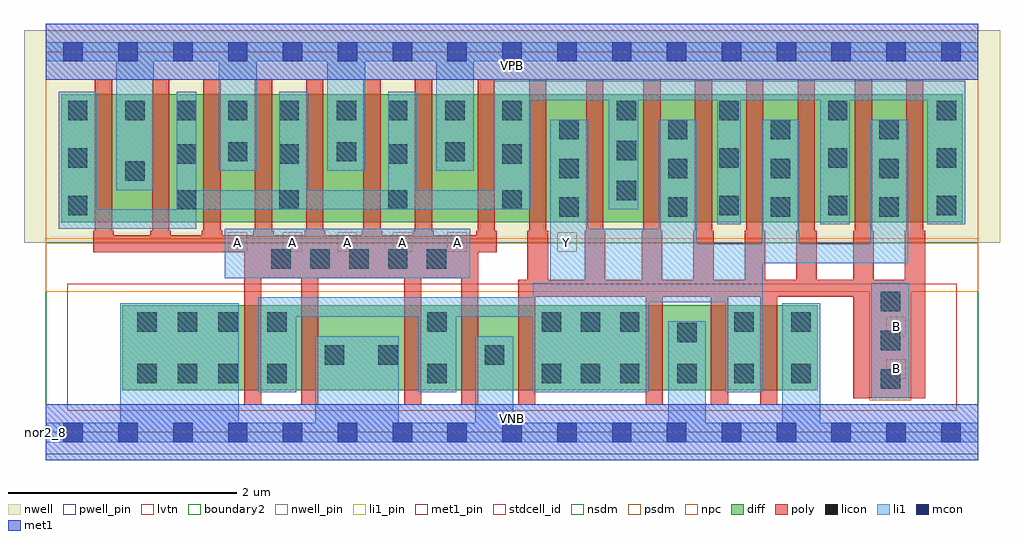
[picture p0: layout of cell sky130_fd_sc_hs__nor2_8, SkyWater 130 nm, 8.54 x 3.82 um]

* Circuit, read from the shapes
.subckt sky130_fd_sc_hs__nor2_8 A B VGND VNB VPB VPWR Y
XM1 Y A VGND VNB sky130_fd_pr__nfet_01v8_lvt w=0.74 l=0.15 m=4
XM2 Y B VGND VNB sky130_fd_pr__nfet_01v8_lvt w=0.74 l=0.15 m=4
XM3 VPWR A n1 VPB sky130_fd_pr__pfet_01v8 w=1.12 l=0.15 m=8
XM4 Y B n1 VPB sky130_fd_pr__pfet_01v8 w=1.12 l=0.15 m=8
.ends

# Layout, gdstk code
import gdstk
lib = gdstk.Library(unit=1e-6, precision=1e-09)
def R(c, l, rs):  # rectangles x0, y0, x1, y1
    for r in rs: c.add(gdstk.rectangle(r[:2], r[2:], *l))
def A(c, l, x, y, w, h, nx, ny, dx, dy):  # array of equal rectangles
    R(c, l, [(x+i*dx, y+j*dy, x+i*dx+w, y+j*dy+h) for i in range(nx) for j in range(ny)])
def P(c, l, *ps):  # polygons
    for p in ps: c.add(gdstk.Polygon(p, *l))
nwell_pin = (64, 16)
nwell = (64, 20)
diff = (65, 20)
poly = (66, 20)
licon = (66, 44)
li1_pin = (67, 16)
li1 = (67, 20)
mcon = (67, 44)
met1_pin = (68, 16)
met1 = (68, 20)
stdcell_id = (81, 4)
nsdm = (93, 44)
psdm = (94, 20)
npc = (95, 20)
pwell_pin = (122, 16)
lvtn = (125, 44)
boundary2 = (236, 0)

sky130_fd_sc_hs__nor2_8 = lib.new_cell('sky130_fd_sc_hs__nor2_8')
R(sky130_fd_sc_hs__nor2_8, nwell_pin, [(0,3.085,8.16,3.33)])
R(sky130_fd_sc_hs__nor2_8, nwell, [(-0.19,1.66,8.35,3.52)])
R(sky130_fd_sc_hs__nor2_8, diff, [(0.67,0.37,6.755,1.11), (0.135,1.84,8.025,2.96)])
P(sky130_fd_sc_hs__nor2_8, poly, [(3.945,1.765),(3.93,1.765),(3.93,3.09),(3.78,3.09),(3.78,1.765),(3.765,1.765),(3.765,1.725),(3.395,1.725),(3.395,1.765),(3.38,1.765),(3.38,3.09),(3.23,3.09),(3.23,1.765),(3.215,1.765),(3.215,1.725),(2.945,1.725),(2.945,1.765),(2.93,1.765),(2.93,3.09),(2.78,3.09),(2.78,1.765),(2.765,1.765),(2.765,1.725),(2.445,1.725),(2.445,1.765),(2.43,1.765),(2.43,3.09),(2.28,3.09),(2.28,1.765),(2.265,1.765),(2.265,1.725),(1.995,1.725),(1.995,1.765),(1.98,1.765),(1.98,3.09),(1.83,3.09),(1.83,1.765),(1.815,1.765),(1.815,1.725),(1.545,1.725),(1.545,1.765),(1.53,1.765),(1.53,3.09),(1.38,3.09),(1.38,1.765),(1.365,1.765),(1.365,1.725),(1.095,1.725),(1.095,1.765),(1.08,1.765),(1.08,3.09),(0.93,3.09),(0.93,1.765),(0.915,1.765),(0.915,1.725),(0.595,1.725),(0.595,1.765),(0.58,1.765),(0.58,3.09),(0.43,3.09),(0.43,1.765),(0.415,1.765),(0.415,1.575),(1.735,1.575),(1.735,0.24),(1.885,0.24),(1.885,1.35),(2.235,1.35),(2.235,0.24),(2.385,0.24),(2.385,1.35),(3.135,1.35),(3.135,0.24),(3.285,0.24),(3.285,1.35),(3.635,1.35),(3.635,0.24),(3.785,0.24),(3.785,1.575),(3.945,1.575)],
  [(7.695,1.765),(7.68,1.765),(7.68,3.09),(7.53,3.09),(7.53,1.765),(7.515,1.765),(7.515,1.335),(7.245,1.335),(7.245,1.765),(7.23,1.765),(7.23,3.09),(7.08,3.09),(7.08,1.765),(7.065,1.765),(7.065,1.335),(6.745,1.335),(6.745,1.765),(6.73,1.765),(6.73,3.09),(6.58,3.09),(6.58,1.765),(6.565,1.765),(6.565,1.335),(6.295,1.335),(6.295,1.765),(6.28,1.765),(6.28,3.09),(6.13,3.09),(6.13,1.765),(6.115,1.765),(6.115,1.335),(5.845,1.335),(5.845,1.765),(5.83,1.765),(5.83,3.09),(5.68,3.09),(5.68,1.765),(5.665,1.765),(5.665,1.335),(5.395,1.335),(5.395,1.765),(5.38,1.765),(5.38,3.09),(5.23,3.09),(5.23,1.765),(5.215,1.765),(5.215,1.335),(4.895,1.335),(4.895,1.765),(4.88,1.765),(4.88,3.09),(4.73,3.09),(4.73,1.765),(4.715,1.765),(4.715,1.335),(4.395,1.335),(4.395,1.765),(4.38,1.765),(4.38,3.09),(4.23,3.09),(4.23,1.765),(4.215,1.765),(4.215,1.335),(4.135,1.335),(4.135,0.24),(4.285,0.24),(4.285,1.185),(5.25,1.185),(5.25,0.24),(5.4,0.24),(5.4,1.185),(5.82,1.185),(5.82,0.24),(5.97,0.24),(5.97,1.185),(6.25,1.185),(6.25,0.24),(6.4,0.24),(6.4,1.185),(7.065,1.185),(7.065,0.3),(7.695,0.3)])
A(sky130_fd_sc_hs__nor2_8, licon, 7.305, 0.38, 0.17, 0.17, 1, 3, 0, 0.34)
A(sky130_fd_sc_hs__nor2_8, licon, 0.8, 0.43, 0.17, 0.17, 3, 2, 0.355, 0.45)
A(sky130_fd_sc_hs__nor2_8, licon, 5.025, 0.43, 0.17, 0.17, 4, 1, 0.5, 0)
A(sky130_fd_sc_hs__nor2_8, licon, 1.975, 1.43, 0.17, 0.17, 5, 1, 0.34, 0)
A(sky130_fd_sc_hs__nor2_8, licon, 4.495, 1.885, 0.17, 0.17, 1, 3, 0, 0.34)
A(sky130_fd_sc_hs__nor2_8, licon, 5.445, 1.885, 0.17, 0.17, 1, 3, 0, 0.34)
A(sky130_fd_sc_hs__nor2_8, licon, 6.345, 1.885, 0.17, 0.17, 1, 3, 0, 0.34)
A(sky130_fd_sc_hs__nor2_8, licon, 7.295, 1.885, 0.17, 0.17, 1, 3, 0, 0.34)
A(sky130_fd_sc_hs__nor2_8, licon, 0.195, 1.9, 0.17, 0.17, 1, 3, 0, 0.415)
A(sky130_fd_sc_hs__nor2_8, licon, 5.895, 1.9, 0.17, 0.17, 3, 3, 0.95, 0.415)
A(sky130_fd_sc_hs__nor2_8, licon, 4.995, 2.03, 0.17, 0.17, 1, 3, 0, 0.35)
A(sky130_fd_sc_hs__nor2_8, licon, 1.595, 2.37, 0.17, 0.17, 3, 1, 0.95, 0)
A(sky130_fd_sc_hs__nor2_8, licon, 0.695, 2.73, 0.17, 0.17, 4, 1, 0.45, 0)
A(sky130_fd_sc_hs__nor2_8, licon, 2.995, 2.73, 0.17, 0.17, 3, 1, 0.5, 0)
R(sky130_fd_sc_hs__nor2_8, licon, [(1.94,0.43,2.11,0.6), (3.34,0.43,3.51,0.6), (4.34,0.43,4.51,0.6), (4.68,0.43,4.85,0.6), (2.44,0.59,2.61,0.76), (2.91,0.59,3.08,0.76), (3.84,0.59,4.01,0.76), (5.525,0.79,5.695,0.96), (1.94,0.88,2.11,1.05), (3.34,0.88,3.51,1.05), (4.34,0.88,4.51,1.05), (4.68,0.88,4.85,1.05), (5.025,0.88,5.195,1.05), (6.025,0.88,6.195,1.05), (6.525,0.88,6.695,1.05), (1.145,1.95,1.315,2.12), (2.045,1.95,2.215,2.12), (2.995,1.95,3.165,2.12), (3.995,1.95,4.165,2.12), (0.695,2.2,0.865,2.37), (1.145,2.35,1.315,2.52), (2.045,2.35,2.215,2.52), (2.995,2.35,3.165,2.52), (3.995,2.35,4.165,2.52), (2.545,2.73,2.715,2.9)])
A(sky130_fd_sc_hs__nor2_8, li1_pin, 1.595, 1.58, 0.17, 0.17, 5, 1, 0.48, 0)
R(sky130_fd_sc_hs__nor2_8, li1_pin, [(7.355,0.47,7.525,0.64), (7.355,0.84,7.525,1.01), (4.475,1.58,4.645,1.75)])
R(sky130_fd_sc_hs__nor2_8, li1, [(7.225,0.3,7.555,1.31), (1.565,1.35,3.715,1.78)])
P(sky130_fd_sc_hs__nor2_8, li1, [(0,-0.085),(0,0.085),(0.65,0.085),(0.65,1.13),(1.69,1.13),(1.69,0.085),(2.36,0.085),(2.36,0.84),(3.09,0.84),(3.09,0.085),(3.76,0.085),(3.76,0.84),(4.09,0.84),(4.09,0.085),(5.445,0.085),(5.445,0.97),(5.775,0.97),(5.775,0.085),(6.445,0.085),(6.445,1.13),(6.775,1.13),(6.775,0.085),(8.16,0.085),(8.16,-0.085)],
  [(0,3.245),(0,3.415),(8.16,3.415),(8.16,3.245),(3.745,3.245),(3.745,2.29),(3.415,2.29),(3.415,3.245),(2.795,3.245),(2.795,2.29),(2.465,2.29),(2.465,3.245),(1.845,3.245),(1.845,2.29),(1.515,2.29),(1.515,3.245),(0.945,3.245),(0.945,2.12),(0.615,2.12),(0.615,3.245)],
  [(4.415,1.31),(4.415,2.735),(4.745,2.735),(4.745,1.78),(5.365,1.78),(5.365,2.735),(5.695,2.735),(5.695,1.65),(6.265,1.65),(6.265,2.735),(6.595,2.735),(6.595,1.65),(7.215,1.65),(7.215,2.735),(7.545,2.735),(7.545,1.48),(6.275,1.48),(6.275,0.35),(5.945,0.35),(5.945,1.14),(5.275,1.14),(5.275,0.35),(4.26,0.35),(4.26,1.01),(3.59,1.01),(3.59,0.35),(3.26,0.35),(3.26,1.01),(2.19,1.01),(2.19,0.35),(1.86,0.35),(1.86,1.18),(4.26,1.18),(4.26,1.31)],
  [(7.715,2.905),(7.035,2.905),(7.035,1.82),(6.775,1.82),(6.775,2.905),(6.08,2.905),(6.08,1.82),(5.875,1.82),(5.875,2.905),(5.185,2.905),(5.185,1.95),(4.925,1.95),(4.925,2.905),(4.245,2.905),(4.245,1.95),(1.315,1.95),(1.315,1.78),(0.115,1.78),(0.115,2.98),(0.445,2.98),(0.445,1.95),(1.145,1.95),(1.145,2.98),(1.315,2.98),(1.315,2.12),(2.045,2.12),(2.045,2.98),(2.295,2.98),(2.295,2.12),(2.995,2.12),(2.995,2.98),(3.245,2.98),(3.245,2.12),(3.915,2.12),(3.915,3.075),(8.045,3.075),(8.045,1.82),(7.715,1.82)])
A(sky130_fd_sc_hs__nor2_8, mcon, 0.155, -0.085, 0.17, 0.17, 17, 2, 0.48, 3.33)
R(sky130_fd_sc_hs__nor2_8, met1_pin, [(0,0,8.16,0.245), (0,3.085,8.16,3.33)])
R(sky130_fd_sc_hs__nor2_8, met1, [(0,-0.245,8.16,0.245), (0,3.085,8.16,3.575)])
R(sky130_fd_sc_hs__nor2_8, stdcell_id, [(0,0,8.16,3.33)])
R(sky130_fd_sc_hs__nor2_8, nsdm, [(0,-0.19,8.16,1.66)])
P(sky130_fd_sc_hs__nor2_8, psdm, [(8.16,3.52),(0,3.52),(0,1.66),(1.76,1.66),(1.76,1.71),(3.645,1.71),(3.645,1.66),(8.16,1.66)])
P(sky130_fd_sc_hs__nor2_8, npc, [(8.16,1.7),(0,1.7),(0,1.23),(7.205,1.23),(7.205,0.28),(7.575,0.28),(7.575,1.23),(8.16,1.23)])
R(sky130_fd_sc_hs__nor2_8, pwell_pin, [(0,0,8.16,0.245)])
R(sky130_fd_sc_hs__nor2_8, lvtn, [(0.19,0.19,7.97,1.3)])
R(sky130_fd_sc_hs__nor2_8, boundary2, [(0,0,8.16,3.33)])
sky130_fd_sc_hs__nor2_8.add(gdstk.Label('nor2_8', (0,0), layer=83, texttype=44))
sky130_fd_sc_hs__nor2_8.add(gdstk.Label('VNB', (4.08,0.123), layer=64, texttype=59))
sky130_fd_sc_hs__nor2_8.add(gdstk.Label('VPB', (4.08,3.208), layer=64, texttype=5))
sky130_fd_sc_hs__nor2_8.add(gdstk.Label('VPWR', (4.08,3.208), layer=68, texttype=5))
sky130_fd_sc_hs__nor2_8.add(gdstk.Label('VGND', (4.08,0.123), layer=68, texttype=5))
sky130_fd_sc_hs__nor2_8.add(gdstk.Label('A', (1.68,1.665), layer=67, texttype=5))
sky130_fd_sc_hs__nor2_8.add(gdstk.Label('A', (2.16,1.665), layer=67, texttype=5))
sky130_fd_sc_hs__nor2_8.add(gdstk.Label('A', (2.64,1.665), layer=67, texttype=5))
sky130_fd_sc_hs__nor2_8.add(gdstk.Label('A', (3.12,1.665), layer=67, texttype=5))
sky130_fd_sc_hs__nor2_8.add(gdstk.Label('A', (3.6,1.665), layer=67, texttype=5))
sky130_fd_sc_hs__nor2_8.add(gdstk.Label('B', (7.44,0.555), layer=67, texttype=5))
sky130_fd_sc_hs__nor2_8.add(gdstk.Label('B', (7.44,0.925), layer=67, texttype=5))
sky130_fd_sc_hs__nor2_8.add(gdstk.Label('Y', (4.56,1.665), layer=67, texttype=5))

lib.write_gds('sky130_fd_sc_hs__nor2_8.gds')
